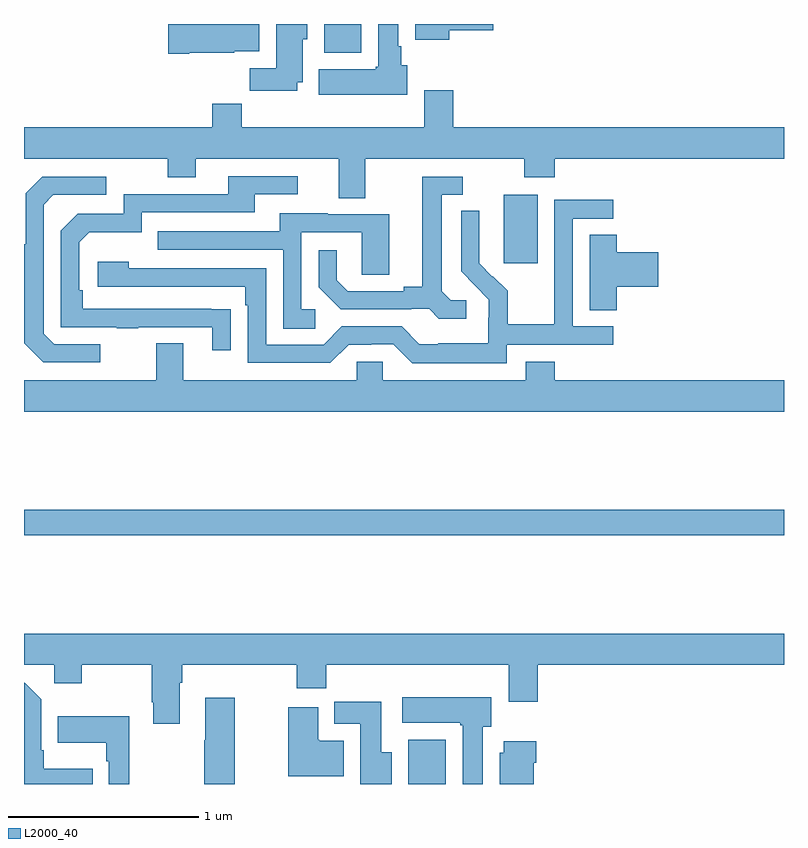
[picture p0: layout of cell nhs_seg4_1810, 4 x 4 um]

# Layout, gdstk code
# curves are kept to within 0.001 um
import gdstk
lib = gdstk.Library(unit=1e-6, precision=1e-09)
def R(c, l, rs):  # rectangles x0, y0, x1, y1
    for r in rs: c.add(gdstk.rectangle(r[:2], r[2:], *l))
def P(c, l, *ps):  # polygons
    for p in ps: c.add(gdstk.Polygon(p, *l))
L2000_40 = (2000, 40)

nhs_seg4_1810 = lib.new_cell('nhs_seg4_1810')
R(nhs_seg4_1810, L2000_40, [(207.023,754.9,207.22,755.134), (205,756.208,209,756.344), (207.524,757.641,207.703,758.002), (206.579,758.75,206.776,758.9)])
P(nhs_seg4_1810, L2000_40, [(207.238,758.867),(207.469,758.867),(207.469,758.9),(207.059,758.9),(207.059,758.816),(207.238,758.816)],
  [(207.016,758.682),(206.986,758.682),(206.986,758.782),(206.971,758.782),(206.971,758.9),(206.864,758.9),(206.864,758.676),(206.851,758.676),(206.851,758.662),(206.552,758.662),(206.552,758.528),(207.016,758.528)],
  [(206.437,758.594),(206.467,758.594),(206.467,758.82),(206.491,758.82),(206.491,758.9),(206.327,758.9),(206.327,758.668),(206.188,758.668),(206.188,758.55),(206.437,758.55)],
  [(205.87,758.75),(206.106,758.75),(206.106,758.756),(206.239,758.756),(206.239,758.9),(205.758,758.9),(205.758,758.743),(205.87,758.743)],
  [(206.797,758.192),(207.634,758.192),(207.634,758.093),(207.794,758.093),(207.794,758.192),(209,758.192),(209,758.356),(207.26,758.356),(207.26,758.551),(207.107,758.551),(207.107,758.356),(206.147,758.356),(206.147,758.48),(205.991,758.48),(205.991,758.356),(205,758.356),(205,758.192),(205.756,758.192),(205.756,758.093),(205.903,758.093),(205.903,758.192),(206.657,758.192),(206.657,757.984),(206.797,757.984)],
  [(206.087,757.4),(205.31,757.401),(205.31,757.498),(205.29,757.498),(205.29,757.752),(205.343,757.805),(205.62,757.805),(205.62,757.908),(206.215,757.908),(206.215,758.004),(206.44,758.004),(206.44,758.1),(206.075,758.1),(206.075,758.004),(205.524,758.004),(205.524,757.902),(205.284,757.902),(205.194,757.812),(205.194,757.305),(205.489,757.305),(205.489,757.3),(205.601,757.3),(205.601,757.305),(205.991,757.305),(205.991,757.182),(206.087,757.182)],
  [(205.402,757.215),(205.158,757.215),(205.104,757.269),(205.104,757.95),(205.155,758.001),(205.432,758.001),(205.432,758.097),(205.095,758.097),(205.008,758.01),(205.008,757.741),(205,757.741),(205,757.221),(205.101,757.119),(205.402,757.119)],
  [(207.328,757.446),(207.246,757.446),(207.199,757.493),(207.199,758.001),(207.31,758.001),(207.31,758.097),(207.095,758.097),(207.095,757.517),(206.999,757.517),(206.999,757.494),(206.704,757.494),(206.647,757.551),(206.647,757.708),(206.55,757.708),(206.55,757.514),(206.666,757.398),(207.038,757.398),(207.038,757.401),(207.132,757.401),(207.184,757.349),(207.328,757.349)],
  [(207.54,757.212),(208.102,757.212),(208.102,757.308),(207.888,757.308),(207.888,757.875),(208.102,757.875),(208.102,757.974),(207.792,757.974),(207.792,757.544),(207.79,757.544),(207.79,757.321),(207.545,757.321),(207.545,757.495),(207.468,757.572),(207.465,757.569),(207.395,757.64),(207.396,757.916),(207.3,757.916),(207.3,757.598),(207.446,757.45),(207.446,757.353),(207.444,757.353),(207.444,757.219),(207.181,757.219),(207.181,757.215),(207.081,757.215),(206.988,757.308),(206.673,757.308),(206.577,757.212),(206.274,757.212),(206.274,757.614),(205.55,757.614),(205.55,757.648),(205.389,757.648),(205.389,757.518),(206.165,757.518),(206.165,757.421),(206.178,757.421),(206.178,757.116),(206.613,757.116),(206.709,757.212),(206.828,757.212),(206.828,757.215),(206.943,757.215),(207.043,757.115),(207.54,757.115)],
  [(206.533,757.398),(206.46,757.398),(206.46,757.803),(206.778,757.803),(206.778,757.579),(206.923,757.579),(206.923,757.899),(206.599,757.899),(206.599,757.903),(206.345,757.903),(206.345,757.809),(205.705,757.809),(205.705,757.713),(206.364,757.713),(206.364,757.297),(206.533,757.297)],
  [(208.121,757.517),(208.339,757.517),(208.339,757.7),(208.121,757.7),(208.121,757.79),(207.977,757.79),(207.977,757.393),(208.121,757.393)],
  [(209,757.024),(207.794,757.024),(207.794,757.123),(207.641,757.123),(207.641,757.024),(206.889,757.024),(206.889,757.122),(206.751,757.122),(206.751,757.024),(205.837,757.024),(205.837,757.219),(205.697,757.219),(205.697,757.024),(205,757.024),(205,756.86),(209,756.86)],
  [(205.819,755.432),(205.832,755.432),(205.832,755.528),(206.435,755.528),(206.435,755.404),(206.591,755.404),(206.591,755.528),(207.551,755.528),(207.551,755.334),(207.704,755.334),(207.704,755.528),(209,755.528),(209,755.692),(205,755.692),(205,755.528),(205.158,755.528),(205.158,755.429),(205.305,755.429),(205.305,755.528),(205.672,755.528),(205.672,755.329),(205.679,755.329),(205.679,755.217),(205.819,755.217)],
  [(205.361,754.981),(205.105,754.981),(205.105,755.077),(205.092,755.077),(205.092,755.346),(205.005,755.433),(205,755.433),(205,754.9),(205.361,754.9)],
  [(207.415,755.202),(207.46,755.202),(207.46,755.356),(206.991,755.356),(206.991,755.222),(207.295,755.222),(207.295,755.209),(207.308,755.209),(207.308,754.9),(207.415,754.9)],
  [(206.11,755.353),(205.955,755.353),(205.955,755.129),(205.948,755.129),(205.948,754.9),(206.11,754.9)],
  [(206.935,755.068),(206.881,755.068),(206.881,755.334),(206.633,755.334),(206.633,755.216),(206.771,755.216),(206.771,754.9),(206.935,754.9)],
  [(206.683,755.128),(206.554,755.128),(206.554,755.134),(206.548,755.134),(206.548,755.305),(206.39,755.305),(206.39,754.94),(206.683,754.94)],
  [(205.555,755.257),(205.177,755.257),(205.177,755.117),(205.434,755.117),(205.434,755.021),(205.446,755.021),(205.446,754.9),(205.555,754.9)],
  [(207.682,755.012),(207.695,755.012),(207.695,755.125),(207.524,755.125),(207.524,755.064),(207.503,755.064),(207.503,754.9),(207.682,754.9)])

lib.write_gds('nhs_seg4_1810.gds')
